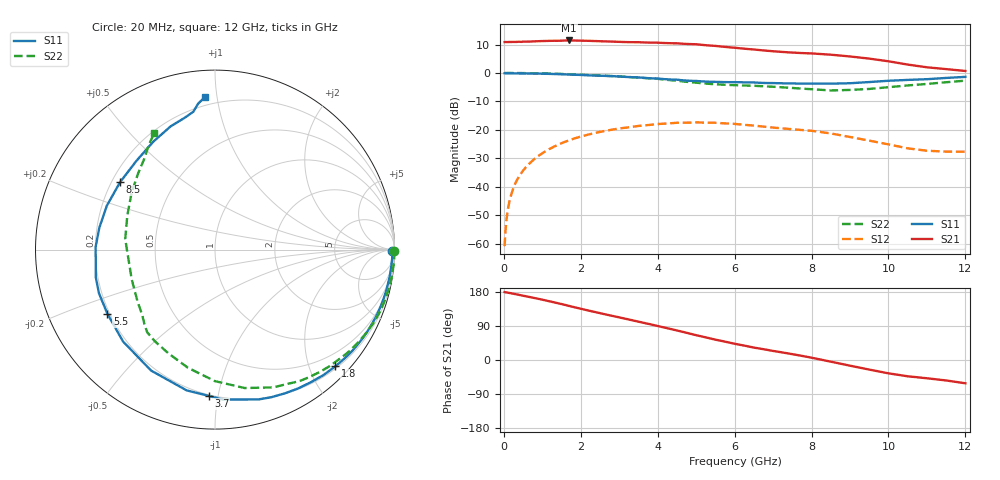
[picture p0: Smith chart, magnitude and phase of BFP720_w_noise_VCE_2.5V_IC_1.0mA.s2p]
! Infineon Technologies  Discrete & RF Semiconductors
! BFP720
! VCE =  2.5 V,  IC =  1.0 mA
! Common Emitter S-Parameters:  Aug 2012
# GHz  S  MA  R  50
!  f  S11  S21  S12  S22
! GHz  MAG  ANG  MAG  ANG  MAG  ANG  MAG  ANG
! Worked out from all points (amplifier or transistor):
!   104 points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, 20 MHz to 12 GHz, reference 50 ohm
!   highest |S21| = 11.4 dB at 1.7 GHz (marker M1)
!   |S21| within 3 dB of that: start of sweep to 6.338 GHz
!   unconditionally stable (mu >= 1): 8.247 GHz to 11.94 GHz
!   at 350 MHz: K = 0.00, MSG = 24.2 dB, |S12| = -37.5 dB
!   at 3.7 GHz: K = 0.26, MSG = 14.5 dB, |S12| = -18.4 dB
!   at 12 GHz: K = 0.95, MSG = 14.2 dB, |S12| = -27.7 dB
!   lowest NFmin = 0.50 dB at 450 MHz
!   S11 on the Smith chart (normalised r, x): 20 MHz: open; 1.8 GHz: 0.24, -2.45; 3.7 GHz: 0.19, -0.94; 5.5 GHz: 0.19, -0.27; 8.5 GHz: 0.23, +0.30; 12 GHz: 0.15, +0.93
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0.02  0.9887 -0.4  3.497 179.2  0.0009 87.9  0.9995 -0.4
0.07  0.9877 -1.6  3.499 178.3  0.0027 90.0  0.9989 -1.3
0.14  0.9881 -3.1  3.51 177.0  0.0053 87.9  0.9993 -2.6
0.4  0.9846 -9.0  3.547 171.8  0.0153 83.2  0.9965 -7.3
1.1  0.9664 -25.9  3.659 156.9  0.0427 70.3  0.9814 -20.6
1.7  0.939 -41.6  3.733 142.5  0.0656 58.0  0.9514 -32.4
1.8  0.9339 -44.1  3.726 140.1  0.0693 55.8  0.9459 -34.3
2.1  0.9167 -51.7  3.688 132.9  0.0794 49.5  0.9271 -40.1
2.8  0.8805 -69.0  3.569 116.8  0.1004 35.3  0.8837 -53.4
3.7  0.8158 -92.5  3.435 96.6  0.1205 17.3  0.812 -71.3
4.1  0.7874 -104.5  3.384 87.4  0.1276 9.5  0.7749 -80.2
4.5  0.7622 -117.8  3.327 77.9  0.1332 1.5  0.7328 -90.0
4.9  0.7266 -131.4  3.214 68.0  0.1346 -7.0  0.6841 -100.1
5.5  0.6981 -149.1  2.994 53.6  0.1332 -19.1  0.6336 -114.2
6.1  0.688 -160.9  2.736 40.9  0.1254 -29.7  0.6074 -124.4
7  0.6651 178.7  2.411 23.9  0.1096 -42.2  0.5726 -133.4
8  0.6503 157.9  2.209 6.1  0.0963 -53.4  0.5189 -146.4
8.5  0.6488 144.6  2.098 -4.4  0.0865 -59.9  0.4927 -160.4
9.5  0.6926 119.8  1.789 -25.3  0.0646 -66.1  0.5238 158.9
10  0.7298 109.8  1.606 -35.2  0.0555 -66.6  0.5625 145.7
10.5  0.7552 102.6  1.406 -43.0  0.0473 -63.2  0.6037 135.1
12  0.8543 93.6  1.085 -61.5  0.0413 -45.6  0.7328 117.5
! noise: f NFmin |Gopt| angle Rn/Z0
0.45  0.5  0.77  6  0.47
1.8  0.64  0.73  31  0.38
2.4  0.76  0.64  82  0.29
5.5  1.17  0.53  99  0.14
10  1.87  0.55  -118  0.28
